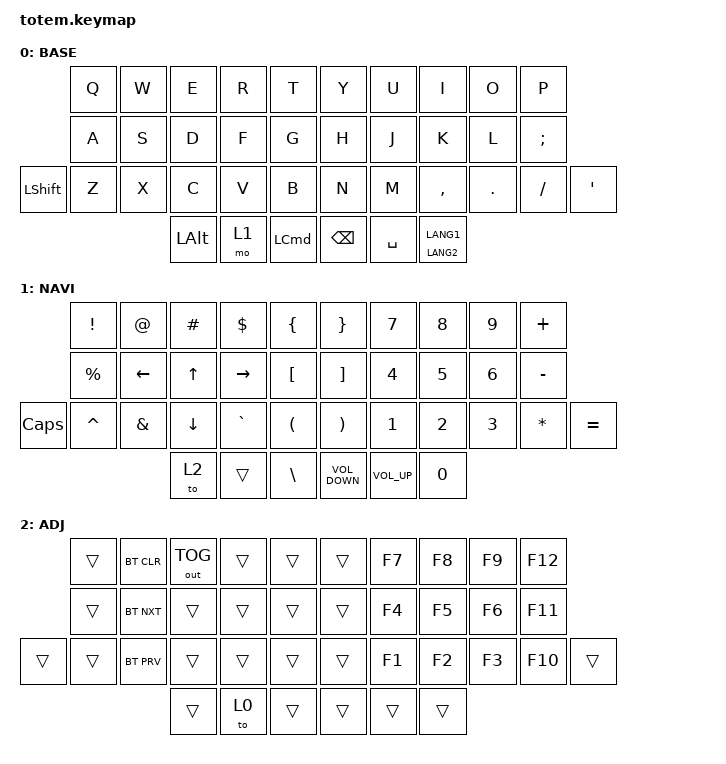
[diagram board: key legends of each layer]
//
//                                                        ▀▀▀▀▀     ▀▀▀▀▀          ▀▀█▀▀
//                                                        ▄▀▀▀▄  ▄  ▄▀▀▀▄  ▄  ▄▀▀▀▄  █  ▄▀▀▀▄
//                                                        █   █  █  █   █  █  █   █  █  █   █
//                                                         ▀▀▀   █   ▀▀▀   █   ▀▀▀   ▀   ▀▀▀
//                                                               █      ▄▄▄█▄▄▄    █   █  
//                                                               ▀      █  █  █     █▄█
//                                                             ▀▀▀▀▀    █  █  █      ▀
//                                                                      ▀  ▀  ▀
//
// ▄▄▄▄▄▄▄▄▄▄▄▄▄▄▄▄▄▄▄▄▄▄▄▄▄▄▄▄▄▄▄▄▄▄▄▄▄▄▄▄▄▄▄▄▄▄▄▄▄▄▄▄▄▄▄▄▄▄▄▄▄▄▄▄▄▄▄▄▄▄▄▄▄▄▄▄▄▄▄▄▄▄▄▄▄▄▄▄▄▄▄▄▄▄▄▄▄▄▄▄▄▄▄▄▄▄▄▄▄▄▄▄▄▄▄▄▄▄▄▄▄▄▄▄▄▄▄▄▄▄▄▄▄▄▄▄▄▄▄▄▄▄▄▄▄▄▄▄▄

#include <behaviors.dtsi>
#include <dt-bindings/zmk/bt.h>
#include <dt-bindings/zmk/keys.h>
#include <dt-bindings/zmk/outputs.h>

#define BASE 0
#define NAV  1
#define SYM  2
#define ADJ  3
#define TVP1 4
#define TVP2 5

&mt {
    quick-tap-ms = <100>;
    global-quick-tap;
    flavor = "tap-preferred";
    tapping-term-ms = <170>;
};

/ {
    combos {
        compatible = "zmk,combos";

        combo_esc {
            timeout-ms = <30>;
            key-positions = <0 1>;
            bindings = <&macro_esc>;
        };

        combo_tab {
            bindings = <&macro_tab>;
            key-positions = <10 11>;
            timeout-ms = <30>;
        };

        combo_tilde {
            bindings = <&macro_tilde>;
            key-positions = <20 10>;
            timeout-ms = <30>;
        };

        combo_enter {
            bindings = <&macro_enter>;
            key-positions = <16 17 18>;
            timeout-ms = <30>;
        };

        combo_hyphen {
            bindings = <&macro_hyphen>;
            key-positions = <19 31>;
            timeout-ms = <30>;
        };

        combo_prtscn {
            bindings = <&macro_prtscn>;
            key-positions = <4 14>;
            timeout-ms = <30>;
        };
    };

    macros {
        macro_enter: combo_enter_macro {
            compatible = "zmk,behavior-macro";
            #binding-cells = <0>;
            bindings = <&macro_tap>, <&kp ENTER>;

            label = "COMBO_ENTER_MACRO";
        };

        macro_esc: macro_esc {
            compatible = "zmk,behavior-macro";
            #binding-cells = <0>;
            bindings = <&macro_tap>, <&kp ESC>;

            label = "MACRO_ESC";
        };

        macro_tab: macro_tap {
            compatible = "zmk,behavior-macro";
            #binding-cells = <0>;
            bindings = <&macro_tap>, <&kp TAB>;

            label = "MACRO_TAP";
        };

        macro_tilde: macro_tilde {
            compatible = "zmk,behavior-macro";
            #binding-cells = <0>;
            bindings = <&macro_tap>, <&kp TILDE>;

            label = "MACRO_TILDE";
        };

        macro_hyphen: macro_hyphen {
            compatible = "zmk,behavior-macro";
            #binding-cells = <0>;
            bindings = <&macro_tap>, <&kp MINUS>;

            label = "MACRO_HYPHEN";
        };

        macro_prtscn: macro_prtscn {
            compatible = "zmk,behavior-macro";
            #binding-cells = <0>;
            bindings = <&macro_tap>, <&kp PRINTSCREEN>;

            label = "MACRO_PRTSCN";
        };
    };

    keymap {
        compatible = "zmk,keymap";

        // ▄▄▄▄▄▄▄▄▄▄▄▄▄▄▄▄▄▄▄▄▄▄▄▄▄▄▄▄▄▄▄▄▄▄▄▄▄▄▄▄▄▄▄▄▄▄▄▄▄▄▄▄▄▄▄▄▄▄▄▄▄▄▄▄▄▄▄▄▄▄▄▄▄▄▄▄▄▄▄▄▄▄▄▄▄▄▄▄▄▄▄▄▄▄▄▄▄▄▄▄▄▄▄▄▄▄▄▄▄▄▄▄▄▄▄▄▄▄▄▄▄▄▄▄▄▄▄▄▄▄▄▄▄▄▄▄▄▄▄▄▄▄▄▄▄▄▄▄▄

        base_layer {
            // ┏━━━━━━━━━━━━━━━━━━━━━━━━━━━━━━━━━━━━━━━┓

            label = "BASE";

            // ┗━━━━━━━━━━━━━━━━━━━━━━━━━━━━━━━━━━━━━━━┛
            //             ┏━━━━━━━━━━━┳━━━━━━━━━━━┳━━━━━━━━━━━┳━━━━━━━━━━━┳━━━━━━━━━━━┓   ┏━━━━━━━━━━━┳━━━━━━━━━━━┳━━━━━━━━━━━┳━━━━━━━━━━━┳━━━━━━━━━━━┓
            //             ┃     Q     ┃     W     ┃     F     ┃     P     ┃     G     ┃   ┃     J     ┃     L     ┃     U     ┃     Y     ┃     ;     ┃
            //             ┣━━━━━━━━━━━╋━━━━━━━━━━━╋━━━━━━━━━━━╋━━━━━━━━━━━╋━━━━━━━━━━━┫   ┣━━━━━━━━━━━╋━━━━━━━━━━━╋━━━━━━━━━━━╋━━━━━━━━━━━╋━━━━━━━━━━━┫
            //             ┃     A     ┃     R     ┃     S     ┃     T     ┃     D     ┃   ┃     H     ┃     N     ┃     E     ┃     I     ┃     O     ┃
            // ┏━━━━━━━━━━━╋━━━━━━━━━━━╋━━━━━━━━━━━╋━━━━━━━━━━━╋━━━━━━━━━━━╋━━━━━━━━━━━┫   ┣━━━━━━━━━━━╋━━━━━━━━━━━╋━━━━━━━━━━━╋━━━━━━━━━━━╋━━━━━━━━━━━╋━━━━━━━━━━━┓
            // ┃     Q     ┃     Z     ┃     X     ┃     C     ┃     V     ┃     B     ┃   ┃     K     ┃     M     ┃     ,     ┃     .     ┃     /     ┃     \     ┃
            // ┗━━━━━━━━━━━┻━━━━━━━━━━━┻━━━━━━━━━━━╋━━━━━━━━━━━╋━━━━━━━━━━━╋━━━━━━━━━━━┫   ┣━━━━━━━━━━━╋━━━━━━━━━━━╋━━━━━━━━━━━╋━━━━━━━━━━━┻━━━━━━━━━━━┻━━━━━━━━━━━┛
            //                                     ┃    DEL    ┃    TAB    ┃    SPC    ┃   ┃   ENTER   ┃           ┃   BSPC    ┃
            //                                     ┗━━━━━━━━━━━┻━━━━━━━━━━━┻━━━━━━━━━━━┛   ┗━━━━━━━━━━━┻━━━━━━━━━━━┻━━━━━━━━━━━┛

            bindings = <
            &kp Q  &kp W  &kp E         &kp R  &kp T               &kp Y          &kp U      &kp I            &kp O    &kp P
            &kp A  &kp S  &kp D         &kp F  &kp G               &kp H          &kp J      &kp K            &kp L    &kp SEMICOLON
&kp LSHIFT  &kp Z  &kp X  &kp C         &kp V  &kp B               &kp N          &kp M      &kp COMMA        &kp DOT  &kp FSLH       &kp SQT
                          &kp LEFT_ALT  &mo 1  &kp LEFT_COMMAND    &kp BACKSPACE  &kp SPACE  &mt LANG2 LANG1
            >;
        };

        // ▄▄▄▄▄▄▄▄▄▄▄▄▄▄▄▄▄▄▄▄▄▄▄▄▄▄▄▄▄▄▄▄▄▄▄▄▄▄▄▄▄▄▄▄▄▄▄▄▄▄▄▄▄▄▄▄▄▄▄▄▄▄▄▄▄▄▄▄▄▄▄▄▄▄▄▄▄▄▄▄▄▄▄▄▄▄▄▄▄▄▄▄▄▄▄▄▄▄▄▄▄▄▄▄▄▄▄▄▄▄▄▄▄▄▄▄▄▄▄▄▄▄▄▄▄▄▄▄▄▄▄▄▄▄▄▄▄▄▄▄▄▄▄▄▄▄▄▄▄

        nav_layer {
            // ┏━━━━━━━━━━━━━━━━━━━━━━━━━━━━━━━━━━━━━━━┓

            label = "NAVI";

            // ┗━━━━━━━━━━━━━━━━━━━━━━━━━━━━━━━━━━━━━━━┛
            //             ┏━━━━━━━━━━━┳━━━━━━━━━━━┳━━━━━━━━━━━┳━━━━━━━━━━━┳━━━━━━━━━━━┓   ┏━━━━━━━━━━━┳━━━━━━━━━━━┳━━━━━━━━━━━┳━━━━━━━━━━━┳━━━━━━━━━━━┓
            //             ┃           ┃           ┃     UP    ┃           ┃     {     ┃   ┃     }     ┃     7     ┃     8     ┃     9     ┃     +     ┃
            //             ┣━━━━━━━━━━━╋━━━━━━━━━━━╋━━━━━━━━━━━╋━━━━━━━━━━━╋━━━━━━━━━━━┫   ┣━━━━━━━━━━━╋━━━━━━━━━━━╋━━━━━━━━━━━╋━━━━━━━━━━━╋━━━━━━━━━━━┫
            //             ┃   SHIFT   ┃   LEFT    ┃    DOWN   ┃   RIGHT   ┃     [     ┃   ┃     ]     ┃     4     ┃     5     ┃     6     ┃     -     ┃
            // ┏━━━━━━━━━━━╋━━━━━━━━━━━╋━━━━━━━━━━━╋━━━━━━━━━━━╋━━━━━━━━━━━╋━━━━━━━━━━━┫   ┣━━━━━━━━━━━╋━━━━━━━━━━━╋━━━━━━━━━━━╋━━━━━━━━━━━╋━━━━━━━━━━━╋━━━━━━━━━━━┓
            // ┃           ┃           ┃   P UP    ┃  C LOCK   ┃  P DOWN   ┃     (     ┃   ┃     )     ┃     1     ┃     2     ┃     3     ┃     *     ┃           ┃
            // ┗━━━━━━━━━━━┻━━━━━━━━━━━┻━━━━━━━━━━━╋━━━━━━━━━━━╋━━━━━━━━━━━╋━━━━━━━━━━━┫   ┣━━━━━━━━━━━╋━━━━━━━━━━━╋━━━━━━━━━━━╋━━━━━━━━━━━┻━━━━━━━━━━━┻━━━━━━━━━━━┛
            //                                     ┃           ┃    TAB    ┃    SPC    ┃   ┃    DEL    ┃     0     ┃           ┃
            //                                     ┗━━━━━━━━━━━┻━━━━━━━━━━━┻━━━━━━━━━━━┛   ┗━━━━━━━━━━━┻━━━━━━━━━━━┻━━━━━━━━━━━┛

            bindings = <
          &kp EXCLAMATION  &kp AT_SIGN    &kp HASH  &kp DOLLAR  &kp LBRC         &kp RBRC           &kp N7           &kp N8  &kp N9  &kp PLUS
          &kp PERCENT      &kp LEFT       &kp UP    &kp RIGHT   &kp LBKT         &kp RBKT           &kp N4           &kp N5  &kp N6  &kp MINUS
&kp CAPS  &kp CARET        &kp AMPERSAND  &kp DOWN  &kp GRAVE   &kp LPAR         &kp RPAR           &kp N1           &kp N2  &kp N3  &kp ASTRK  &kp EQUAL
                                          &to 2     &trans      &kp BACKSLASH    &kp C_VOLUME_DOWN  &kp C_VOLUME_UP  &kp N0
            >;
        };

        // ▄▄▄▄▄▄▄▄▄▄▄▄▄▄▄▄▄▄▄▄▄▄▄▄▄▄▄▄▄▄▄▄▄▄▄▄▄▄▄▄▄▄▄▄▄▄▄▄▄▄▄▄▄▄▄▄▄▄▄▄▄▄▄▄▄▄▄▄▄▄▄▄▄▄▄▄▄▄▄▄▄▄▄▄▄▄▄▄▄▄▄▄▄▄▄▄▄▄▄▄▄▄▄▄▄▄▄▄▄▄▄▄▄▄▄▄▄▄▄▄▄▄▄▄▄▄▄▄▄▄▄▄▄▄▄▄▄▄▄▄▄▄▄▄▄▄▄▄▄
        // ▄▄▄▄▄▄▄▄▄▄▄▄▄▄▄▄▄▄▄▄▄▄▄▄▄▄▄▄▄▄▄▄▄▄▄▄▄▄▄▄▄▄▄▄▄▄▄▄▄▄▄▄▄▄▄▄▄▄▄▄▄▄▄▄▄▄▄▄▄▄▄▄▄▄▄▄▄▄▄▄▄▄▄▄▄▄▄▄▄▄▄▄▄▄▄▄▄▄▄▄▄▄▄▄▄▄▄▄▄▄▄▄▄▄▄▄▄▄▄▄▄▄▄▄▄▄▄▄▄▄▄▄▄▄▄▄▄▄▄▄▄▄▄▄▄▄▄▄▄

        adjust_layer {
            // ┏━━━━━━━━━━━━━━━━━━━━━━━━━━━━━━━━━━━━━━━┓

            label = "ADJ";

            // ┗━━━━━━━━━━━━━━━━━━━━━━━━━━━━━━━━━━━━━━━┛
            //             ┏━━━━━━━━━━━┳━━━━━━━━━━━┳━━━━━━━━━━━┳━━━━━━━━━━━┳━━━━━━━━━━━┓   ┏━━━━━━━━━━━┳━━━━━━━━━━━┳━━━━━━━━━━━┳━━━━━━━━━━━┳━━━━━━━━━━━┓
            //             ┃   RESET   ┃ BT CLEAR  ┃  OUT TOG  ┃           ┃           ┃   ┃           ┃    F7     ┃    F8     ┃    F9     ┃    F12    ┃
            //             ┣━━━━━━━━━━━╋━━━━━━━━━━━╋━━━━━━━━━━━╋━━━━━━━━━━━╋━━━━━━━━━━━┫   ┣━━━━━━━━━━━╋━━━━━━━━━━━╋━━━━━━━━━━━╋━━━━━━━━━━━╋━━━━━━━━━━━┫
            //             ┃ BOOTLOAD  ┃ BT NEXT   ┃           ┃           ┃           ┃   ┃           ┃    F4     ┃    F5     ┃    F6     ┃    F11    ┃
            // ┏━━━━━━━━━━━╋━━━━━━━━━━━╋━━━━━━━━━━━╋━━━━━━━━━━━╋━━━━━━━━━━━╋━━━━━━━━━━━┫   ┣━━━━━━━━━━━╋━━━━━━━━━━━╋━━━━━━━━━━━╋━━━━━━━━━━━╋━━━━━━━━━━━╋━━━━━━━━━━━┓
            // ┃           ┃           ┃ BT PREV   ┃           ┃           ┃           ┃   ┃           ┃    F1     ┃    F2     ┃    F3     ┃    F10    ┃           ┃
            // ┗━━━━━━━━━━━┻━━━━━━━━━━━┻━━━━━━━━━━━╋━━━━━━━━━━━╋━━━━━━━━━━━╋━━━━━━━━━━━┫   ┣━━━━━━━━━━━╋━━━━━━━━━━━╋━━━━━━━━━━━╋━━━━━━━━━━━┻━━━━━━━━━━━┻━━━━━━━━━━━┛
            //                                     ┃           ┃           ┃           ┃   ┃           ┃           ┃           ┃
            //                                     ┗━━━━━━━━━━━┻━━━━━━━━━━━┻━━━━━━━━━━━┛   ┗━━━━━━━━━━━┻━━━━━━━━━━━┻━━━━━━━━━━━┛

            bindings = <
        &trans  &bt BT_CLR  &out OUT_TOG  &trans  &trans    &trans  &kp F7  &kp F8  &kp F9  &kp F12
        &trans  &bt BT_NXT  &trans        &trans  &trans    &trans  &kp F4  &kp F5  &kp F6  &kp F11
&trans  &trans  &bt BT_PRV  &trans        &trans  &trans    &trans  &kp F1  &kp F2  &kp F3  &kp F10  &trans
                            &trans        &to 0   &trans    &trans  &trans  &trans
            >;
        };

        // ▄▄▄▄▄▄▄▄▄▄▄▄▄▄▄▄▄▄▄▄▄▄▄▄▄▄▄▄▄▄▄▄▄▄▄▄▄▄▄▄▄▄▄▄▄▄▄▄▄▄▄▄▄▄▄▄▄▄▄▄▄▄▄▄▄▄▄▄▄▄▄▄▄▄▄▄▄▄▄▄▄▄▄▄▄▄▄▄▄▄▄▄▄▄▄▄▄▄▄▄▄▄▄▄▄▄▄▄▄▄▄▄▄▄▄▄▄▄▄▄▄▄▄▄▄▄▄▄▄▄▄▄▄▄▄▄▄▄▄▄▄▄▄▄▄▄▄▄▄
        // ▄▄▄▄▄▄▄▄▄▄▄▄▄▄▄▄▄▄▄▄▄▄▄▄▄▄▄▄▄▄▄▄▄▄▄▄▄▄▄▄▄▄▄▄▄▄▄▄▄▄▄▄▄▄▄▄▄▄▄▄▄▄▄▄▄▄▄▄▄▄▄▄▄▄▄▄▄▄▄▄▄▄▄▄▄▄▄▄▄▄▄▄▄▄▄▄▄▄▄▄▄▄▄▄▄▄▄▄▄▄▄▄▄▄▄▄▄▄▄▄▄▄▄▄▄▄▄▄▄▄▄▄▄▄▄▄▄▄▄▄▄▄▄▄▄▄▄▄▄
    };
};
